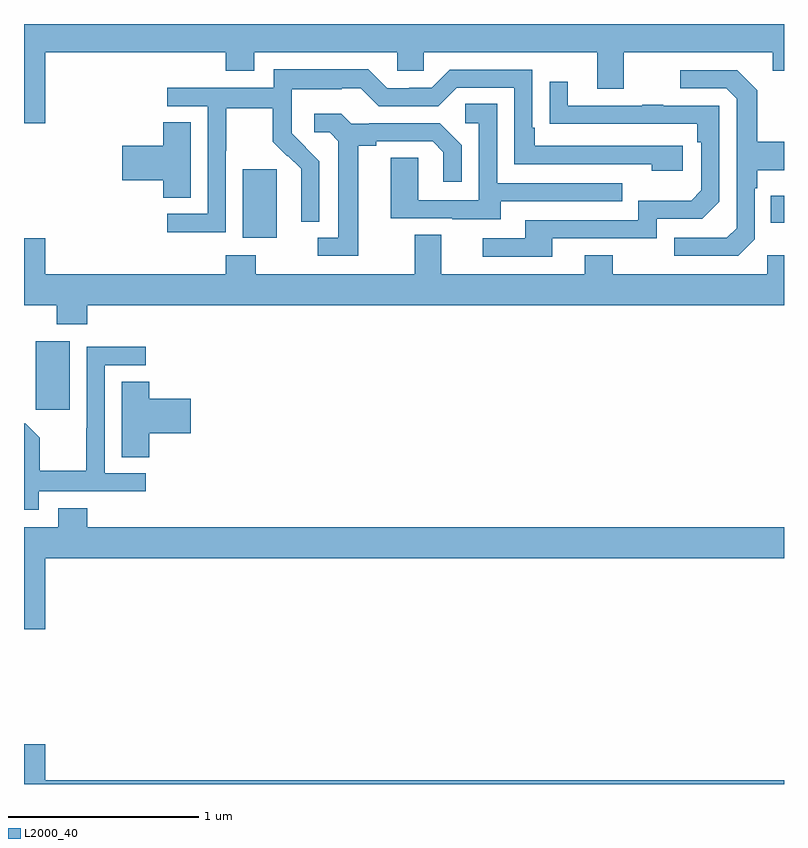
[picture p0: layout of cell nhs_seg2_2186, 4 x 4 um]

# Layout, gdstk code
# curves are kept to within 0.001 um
import gdstk
lib = gdstk.Library(unit=1e-6, precision=1e-09)
def R(c, l, rs):  # rectangles x0, y0, x1, y1
    for r in rs: c.add(gdstk.rectangle(r[:2], r[2:], *l))
def P(c, l, *ps):  # polygons
    for p in ps: c.add(gdstk.Polygon(p, *l))
L2000_40 = (2000, 40)

nhs_seg2_2186 = lib.new_cell('nhs_seg2_2186')
R(nhs_seg2_2186, L2000_40, [(225.062,629.769,225.241,630.13), (226.151,630.674,226.33,631.035), (228.931,630.755,229,630.895)])
P(nhs_seg2_2186, L2000_40, [(225.112,631.652),(226.061,631.652),(226.061,631.553),(226.213,631.553),(226.213,631.652),(226.965,631.652),(226.965,631.554),(227.103,631.554),(227.103,631.652),(228.017,631.652),(228.017,631.458),(228.157,631.458),(228.157,631.652),(228.941,631.652),(228.941,631.553),(229,631.553),(229,631.8),(225,631.8),(225,631.278),(225.112,631.278)],
  [(226.062,631.132),(226.065,631.132),(226.065,631.356),(226.309,631.356),(226.309,631.181),(226.386,631.104),(226.389,631.107),(226.46,631.037),(226.46,630.914),(226.458,630.914),(226.458,630.76),(226.554,630.76),(226.554,631.078),(226.408,631.226),(226.408,631.323),(226.41,631.323),(226.41,631.457),(226.673,631.457),(226.673,631.461),(226.773,631.461),(226.866,631.368),(227.181,631.368),(227.277,631.464),(227.58,631.464),(227.58,631.062),(228.305,631.062),(228.305,631.028),(228.466,631.028),(228.466,631.158),(227.689,631.158),(227.689,631.255),(227.676,631.255),(227.676,631.56),(227.241,631.56),(227.145,631.464),(227.027,631.464),(227.027,631.461),(226.911,631.461),(226.811,631.561),(226.314,631.561),(226.314,631.464),(225.753,631.464),(225.753,631.368),(225.966,631.368),(225.966,630.801),(225.753,630.801),(225.753,630.703),(226.062,630.703)],
  [(228.846,630.666),(228.846,630.935),(228.859,630.935),(228.859,631.031),(229,631.031),(229,631.179),(228.859,631.179),(228.859,631.451),(228.753,631.557),(228.453,631.557),(228.453,631.461),(228.696,631.461),(228.75,631.407),(228.75,630.726),(228.699,630.675),(228.423,630.675),(228.423,630.579),(228.759,630.579)],
  [(227.779,630.672),(228.33,630.672),(228.33,630.774),(228.57,630.774),(228.66,630.864),(228.66,631.371),(228.365,631.371),(228.365,631.376),(228.253,631.376),(228.253,631.371),(227.863,631.371),(227.863,631.495),(227.767,631.495),(227.767,631.276),(228.544,631.275),(228.544,631.178),(228.564,631.178),(228.564,630.924),(228.511,630.871),(228.234,630.871),(228.234,630.768),(227.639,630.768),(227.639,630.672),(227.415,630.672),(227.415,630.576),(227.779,630.576)],
  [(227.509,630.867),(228.149,630.867),(228.149,630.963),(227.49,630.963),(227.49,631.379),(227.322,631.379),(227.322,631.278),(227.394,631.278),(227.394,630.873),(227.076,630.873),(227.076,631.097),(226.931,631.097),(226.931,630.777),(227.255,630.777),(227.255,630.773),(227.509,630.773)],
  [(226.759,631.16),(226.855,631.16),(226.855,631.182),(227.15,631.182),(227.207,631.125),(227.207,630.969),(227.304,630.969),(227.304,631.162),(227.188,631.278),(226.816,631.278),(226.816,631.275),(226.722,631.275),(226.67,631.327),(226.527,631.327),(226.527,631.23),(226.608,631.23),(226.655,631.183),(226.655,630.675),(226.545,630.675),(226.545,630.579),(226.759,630.579)],
  [(225.877,631.283),(225.734,631.283),(225.734,631.16),(225.516,631.16),(225.516,630.977),(225.734,630.977),(225.734,630.886),(225.877,630.886)],
  [(225.332,630.32),(229,630.32),(229,630.583),(228.912,630.583),(228.912,630.484),(228.099,630.484),(228.099,630.583),(227.951,630.583),(227.951,630.484),(227.197,630.484),(227.197,630.692),(227.057,630.692),(227.057,630.484),(226.221,630.484),(226.221,630.583),(226.061,630.583),(226.061,630.484),(225.112,630.484),(225.112,630.673),(225,630.673),(225,630.32),(225.172,630.32),(225.172,630.221),(225.332,630.221)],
  [(225.078,629.34),(225.64,629.34),(225.64,629.436),(225.426,629.436),(225.426,630.003),(225.64,630.003),(225.64,630.102),(225.33,630.102),(225.33,629.672),(225.328,629.672),(225.328,629.449),(225.083,629.449),(225.083,629.623),(225.006,629.7),(225.003,629.697),(225,629.7),(225,629.243),(225.078,629.243)],
  [(225.659,629.645),(225.877,629.645),(225.877,629.828),(225.659,629.828),(225.659,629.918),(225.515,629.918),(225.515,629.521),(225.659,629.521)],
  [(225.112,628.988),(229,628.988),(229,629.152),(225.332,629.152),(225.332,629.251),(225.179,629.251),(225.179,629.152),(225,629.152),(225,628.614),(225.112,628.614)],
  [(229,627.82),(225.112,627.82),(225.112,628.009),(225,628.009),(225,627.8),(229,627.8)])

lib.write_gds('nhs_seg2_2186.gds')
